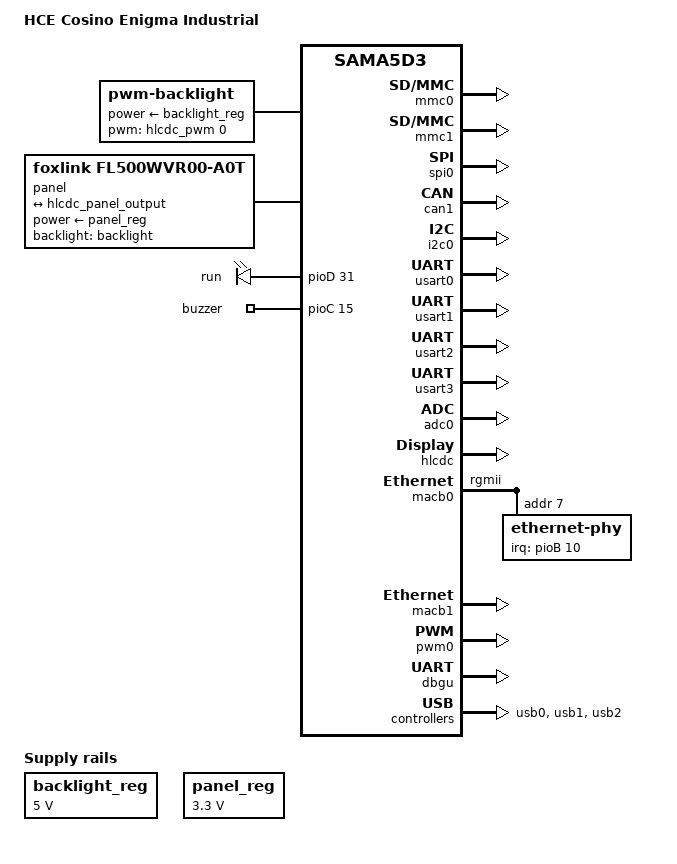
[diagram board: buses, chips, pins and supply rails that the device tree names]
/*
 * sama5d3x-enigma_industrial.dts - Device Tree file for HCE Cosino Enigma
 * 				    Industrial board
 *
 * Copyright (C) 2013 - Rodolfo Giometti <giometti@linux.it>
 *                      HCE Engineering
 *
 * Derived from sama5d31ek.dts by:
 *      Copyright (C) 2013 Atmel,
 *      2013 Ludovic Desroches <ludovic.desroches@atmel.com>
 *
 * Licensed under GPLv2 or later.
 */

/dts-v1/;
#include "at91-enigma.dtsi"

/ {
	model = "HCE Cosino Enigma Industrial";
	compatible = "hce,enigma_industrial", "atmel,sama5d3", "atmel,sama5";

	ahb {
		apb {
			mmc0: mmc@f0000000 {
				pinctrl-names = "default";
				pinctrl-0 = <&pinctrl_mmc0_clk_cmd_dat0 &pinctrl_mmc0_dat1_3 &pinctrl_mmc0_cd>;
				status = "okay";
				slot@0 {
					reg = <0>;
					bus-width = <4>;
					cd-gpios = <&pioE 0 GPIO_ACTIVE_LOW>;
					/* non-removable; */
				};
			};

			mmc1: mmc@f8000000 {
				pinctrl-names = "default";
				pinctrl-0 = <&pinctrl_mmc1_clk_cmd_dat0 &pinctrl_mmc1_dat1_3>;
				status = "okay";
				slot@0 {
					reg = <0>;
					bus-width = <4>;
					non-removable;
				};
			};

			spi0: spi@f0004000 {
				status = "okay";
			};

			can1: can@f8010000 {
				status = "okay";
			};

			ssc0: ssc@f0008000 {
				atmel,clk-from-rk-pin;
				status = "okay";
			};

			i2c0: i2c@f0014000 {
				status = "okay";
			};

			i2c1: i2c@f0018000 {
				status = "disabled";
			};

			usart0: serial@f001c000 {
				pinctrl-names = "default";
				pinctrl-0 = <&pinctrl_usart0 &pinctrl_usart0_rts_cts>;

				linux,rs485-enabled-at-boot-time;
				rs485-rts-delay = <0 20>;
				status = "okay";
			};

			usart1: serial@f0020000 {
				pinctrl-names = "default";
				pinctrl-0 = <&pinctrl_usart1 &pinctrl_usart1_rts_cts>;

				status = "okay";
			};

			usart2: serial@f8020000 {
				pinctrl-names = "default";
				pinctrl-0 = <&pinctrl_usart2 &pinctrl_usart2_rts_cts>;

				status = "okay";
			};

			usart3: serial@f8024000 {
				pinctrl-names = "default";
				pinctrl-0 = <&pinctrl_usart3 &pinctrl_usart3_rts_cts>;

				status = "okay";
			};

			adc0: adc@f8018000 {
				atmel,adc-clock-rate = <200000>;
				atmel,adc-vref = <3300>;
				atmel,adc-ts-wires = <4>;
				atmel,adc-ts-pressure-threshold = <5000>;
				atmel,adc-sample-hold-time = <15>;

				pinctrl-names = "default";
				pinctrl-0 = <
					&pinctrl_adc0_ad0
					&pinctrl_adc0_ad1
					&pinctrl_adc0_ad2
					&pinctrl_adc0_ad3
					&pinctrl_adc0_ad10
					>;
				status = "okay";
			};

			hlcdc: hlcdc@f0030000 {
				status = "okay";

				hlcdc-display-controller {
					pinctrl-names = "default";
					pinctrl-0 = <&pinctrl_lcd_base &pinctrl_lcd_rgb888>;

					port@0 {
						hlcdc_panel_output: endpoint@0 {
							reg = <0>;
							remote-endpoint = <&panel_input>;
						};
					};
				};
			};

			macb0: ethernet@f0028000 {
				phy-mode = "rgmii";
				#address-cells = <1>;
				#size-cells = <0>;
				status = "okay";

				ethernet-phy@7 {
					reg = <0x7>;
					interrupt-parent = <&pioB>;
					interrupts = <10 IRQ_TYPE_EDGE_FALLING>;
					txen-skew-ps = <800>;
					txc-skew-ps = <3000>;
					rxdv-skew-ps = <400>;
					rxc-skew-ps = <3000>;
					rxd0-skew-ps = <400>;
					rxd1-skew-ps = <400>;
					rxd2-skew-ps = <400>;
					rxd3-skew-ps = <400>;
				};
			};

			macb1: ethernet@f802c000 {
				status = "okay";
			};

			pwm0: pwm@f002c000 {
				pinctrl-names = "default";
				pinctrl-0 = <&pinctrl_pwm0_pwml1_2 &pinctrl_pwm0_pwml2_1 &pinctrl_pwm0_pwmh3_1>;
				status = "okay";
			};

			pinctrl@fffff200 {
				board {
					pinctrl_mmc0_cd: mmc0_cd {
						atmel,pins =
							<AT91_PIOE 0 AT91_PERIPH_GPIO AT91_PINCTRL_PULL_UP_DEGLITCH>; /* PD0 GPIO with pullup deglitch */
					};

					pinctrl_usba_vbus: usba_vbus {
						atmel,pins =
							<AT91_PIOD 29 AT91_PERIPH_GPIO AT91_PINCTRL_DEGLITCH>; /* PD29 GPIO with deglitch */
					};

                                        pinctrl_wifi_pins: wifi_pins {
                                                atmel,pins =
                                                        <AT91_PIOE 4 AT91_PERIPH_GPIO (AT91_PINCTRL_OUTPUT | AT91_PINCTRL_OUTPUT_VAL(1))>,
                                                        <AT91_PIOE 5 AT91_PERIPH_GPIO (AT91_PINCTRL_OUTPUT | AT91_PINCTRL_OUTPUT_VAL(1))>;
                                        };
				};
			};

			dbgu: serial@ffffee00 {
				status = "okay";
			};

			watchdog@fffffe40 {
				status = "okay";
			};
		};

		usb0: gadget@00500000 {
			atmel,vbus-gpio = <&pioD 29 GPIO_ACTIVE_HIGH>;
			pinctrl-names = "default";
			pinctrl-0 = <&pinctrl_usba_vbus>;
			status = "okay";
		};

		usb1: ohci@00600000 {
			num-ports = <3>;
			atmel,vbus-gpio = <&pioD 25 GPIO_ACTIVE_HIGH
					   &pioD 26 GPIO_ACTIVE_LOW
					   &pioD 27 GPIO_ACTIVE_LOW
					  >;
			status = "okay";
		};

		usb2: ehci@00700000 {
			status = "okay";
		};
	};

	backlight: backlight {
		compatible = "pwm-backlight";
		pwms = <&hlcdc_pwm 0 50000 0>;
		brightness-levels = <0 4 8 16 32 64 128 255>;
		default-brightness-level = <7>;
		power-supply = <&backlight_reg>;
		status = "okay";
	};

	backlight_reg: backlight_regulator {
		compatible = "regulator-fixed";
		regulator-name = "backlight-power-supply";
		regulator-min-microvolt = <5000000>;
		regulator-max-microvolt = <5000000>;
		status = "okay";
	};

	panel: panel {
		compatible = "foxlink,fl500wvr00-a0t", "simple-panel";
		backlight = <&backlight>;
		power-supply = <&panel_reg>;
		#address-cells = <1>;
		#size-cells = <0>;
		status = "okay";

		port@0 {
			reg = <0>;
			#address-cells = <1>;
			#size-cells = <0>;

			panel_input: endpoint@0 {
				reg = <0>;
				remote-endpoint = <&hlcdc_panel_output>;
			};
		};
	};

	panel_reg: panel_regulator {
		compatible = "regulator-fixed";
		regulator-name = "panel-power-supply";
		regulator-min-microvolt = <3300000>;
		regulator-max-microvolt = <3300000>;
		status = "okay";
	};

	leds {
		compatible = "gpio-leds";

		run {
			label = "run";
			gpios = <&pioD 31 GPIO_ACTIVE_HIGH>;
			linux,default-trigger = "heartbeat";
		};

		buzzer {
			label = "buzzer";
			gpios = <&pioC 15 GPIO_ACTIVE_HIGH>;
			linux,default-trigger = "none";
		};
	};

        pins {
                compatible = "atmel,sama5d3-pinctrl", "atmel,at91sam9x5-pinctrl", "simple-bus";

                pinctrl-names = "default";
                pinctrl-0 = <&pinctrl_wifi_pins>;
        };
};
